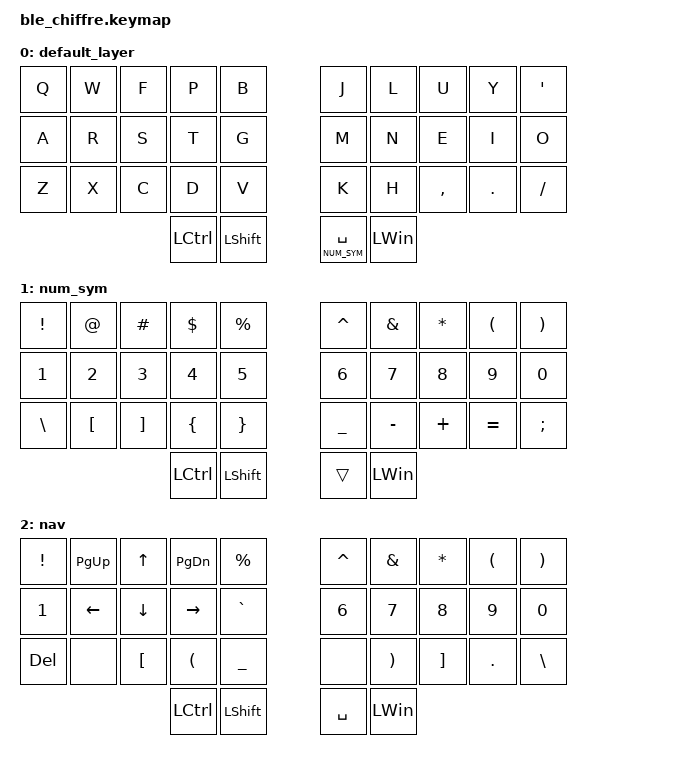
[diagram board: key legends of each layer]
/*
 * Copyright (c) 2020 The ZMK Contributors
 *
 * SPDX-License-Identifier: MIT
 */

#include <behaviors.dtsi>
#include <dt-bindings/zmk/keys.h>
#include <dt-bindings/zmk/bt.h>
#include <dt-bindings/zmk/rgb.h>

#define DEFAULT 0
#define NUM_SYM 1
#define NAV     2

/ {
	behaviors {
		rst: boot_reset 
		{
			compatible = "zmk,behavior-hold-tap";
			label = "Bootloader Tap - Reset Hold";
			#binding-cells = <2>;
			tapping_term_ms = <200>;
            flavor = "balanced";
			bindings = <&reset>, <&bootloader>;
        };

        bh: layer_taps 
		{
			compatible = "zmk,behavior-hold-tap";
			label = "Layer-Tap";
			#binding-cells = <2>;
			tapping_term_ms = <215>;
            flavor = "tap-preferred";
			bindings = <&mo>, <&kp>;
        };

        hm: homerow_mods0 
		{
			compatible = "zmk,behavior-hold-tap";
			label = "homerow mods";
			#binding-cells = <2>;
			tapping_term_ms = <230>;
            flavor = "tap-preferred";
			bindings = <&kp>, <&kp>;
        };
        
        hm1: homerow_mods1 
		{
			compatible = "zmk,behavior-hold-tap";
			label = "homerow mods";
			#binding-cells = <2>;
			tapping_term_ms = <205>;
            flavor = "tap-preferred";
			bindings = <&kp>, <&kp>;
        };

        hm2: homerow_mods2 
		{
			compatible = "zmk,behavior-hold-tap";
			label = "homerow mods 2";
			#binding-cells = <2>;
			tapping_term_ms = <250>;
            flavor = "tap-preferred";
			bindings = <&kp>, <&kp>;
        };

        com_col: comma_semicolon
		{
		 	compatible = "zmk,behavior-hold-tap";
	     	label = "Tap comma_hold colon";
			#binding-cells = <2>;
			tapping_term_ms = <150>;
            flavor = "balanced";
		 	bindings = <&kp>, <&kp>;
	    };
   	 };
};

/ {
	combos {
		compatible = "zmk,combos";
		combo_backspce {
			timeout-ms = <10>;
			key-positions = <16 17>;
			bindings = <&kp BSPC>;
		};
		combo_gesc 
		{
			timeout-ms = <10>;
			key-positions = <0 1>;
			bindings = <&kp ESC>;
		};
		combo_tab 
		{
			timeout-ms = <10>;
			key-positions = <10 11>;
			bindings = <&kp TAB>;
		};
		combo_mnxt 
		{
			timeout-ms = <10>;
			key-positions = <18 19>;
			bindings = <&kp RETURN>;
		};
		combo_mprev 
		{
			timeout-ms = <10>;
			key-positions = <17 18>;
			bindings = <&mo NAV>;	
		};
		combo_mpp 
		{
			timeout-ms = <10>;
			key-positions = <27 29>;
			bindings = <&kp C_PP>;
		};
		combo_del 
		{
			timeout-ms = <10>;
			key-positions = <7 8 9>;
			bindings = <&kp DEL>;
		};
	};
};

&lt {
    retro-tap;
};

/ {
    keymap 
	{
    compatible = "zmk,keymap";

    default_layer {
            bindings = <
    &kp Q &kp W &kp F &kp P &kp B &kp J &kp L &kp U &kp Y &kp SQT
    &kp A &kp R &kp S &kp T &kp G &kp M &kp N &kp E &kp I &kp O
    &kp Z &kp X &kp C &kp D &kp V &kp K &kp H &kp COMMA &kp PERIOD &kp SLASH
    &kp LCTRL &kp LSHIFT &lt NUM_SYM SPACE &kp LWIN
            >;
        };

    num_sym {
            bindings = <
    &kp EXCL &kp AT &kp HASH &kp DOLLAR &kp PERCENT &kp CARET &kp AMPS &kp STAR &kp LPAR &kp RPAR
    &kp N1 &kp N2 &kp N3 &kp N4 &kp N5 &kp N6 &kp N7 &kp N8 &kp N9 &kp N0
    &kp BSLH &kp LBKT &kp RBKT &kp LBRC &kp RBRC &kp UNDER &kp MINUS &kp PLUS &kp EQUAL &kp SEMI
    &kp LCTRL &kp LSHIFT &trans &kp LWIN
            >;
        };

    nav {
            bindings = <
    &kp EXCL &kp PAGE_UP &kp UP &kp PAGE_DOWN &kp PERCENT &kp CARET &kp AMPS &kp STAR &kp LPAR &kp RPAR
    &kp N1 &kp LEFT &kp DOWN &kp RIGHT &kp GRAVE &kp N6 &kp N7 &kp N8 &kp N9 &kp N0
    &kp DEL &none &kp LBKT &kp LPAR &kp UNDER &none &kp RPAR &kp RBKT &kp DOT &kp BSLH
    &kp LCTRL &kp LSHIFT &kp SPACE &kp LWIN
            >;
        };
    };
};
